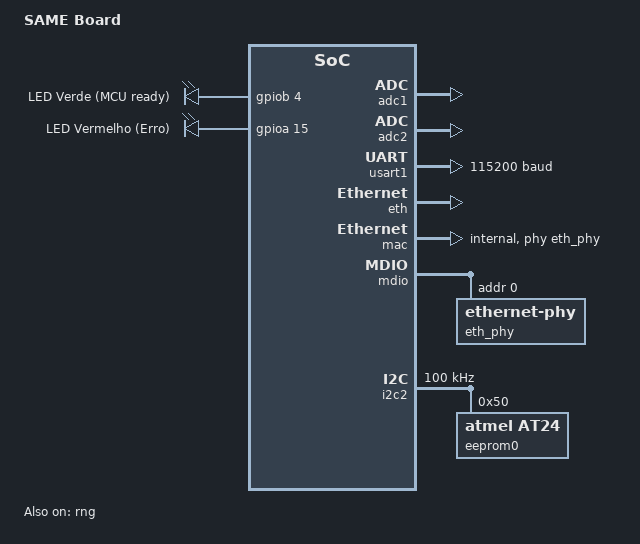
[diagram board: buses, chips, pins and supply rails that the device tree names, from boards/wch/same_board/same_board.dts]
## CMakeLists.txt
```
cmake_minimum_required(VERSION 3.20.0)
find_package(Zephyr REQUIRED HINTS $ENV{ZEPHYR_BASE})
project(SAME)

# SAME — nó de aquisição ELÉTRICA do motor. Só LÊ (2 ADCs) e estima ω/torque
# via SMO+PLL; não aciona o motor (quem aciona o ESC é a SIBA). Arquitetura
# em camadas espelha a SIBA (OS/SYS/HAL, despacho por eventos via same_wq).
#
# native_sim / POSIX: mesma estratégia da SIBA — os dois ADCs viram
# zephyr,adc-emul sob os MESMOS nodelabels `adc1`/`adc2` (ver
# boards/native_sim.overlay), então HAL.c roda sem mudança nesse subsistema.
# NCI.c usa os Offloaded sockets (NSOS) do native_sim → troca UDP real com a
# Aplicacao_Pi no localhost. Ver boards/native_sim.conf.
target_sources(app PRIVATE
    src/main.c

    # OS
    lib/OS/OSSI.c
    lib/OS/NCI.c
    lib/OS/HAL.c
    lib/OS/CMD_Core.c

    # SYS
    lib/SYS/Log_Manager.c
    lib/SYS/Observer_Manager.c
    lib/SYS/Security_Manager.c
    lib/SYS/NVM.c
)

if(NOT CONFIG_ARCH_POSIX)
    # Driver ADC out-of-tree (ADC1 + ADC2) — linkado direto em `app`
    # (--whole-archive) pelo mesmo motivo da SIBA: uma lib estática separada
    # seria descartada pelo linker e `adc1`/`adc2` resolveriam para o driver
    # upstream síncrono-only. Ver CONFIG_ADC_CH32V00X=n em prj.conf.
    target_sources(app PRIVATE drivers/adc/adc_ch32v307.c)
endif()

target_include_directories(app PRIVATE
    lib/OS
    lib/Application
    lib/SYS
    drivers
)
```

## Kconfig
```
mainmenu "SAME Firmware"

source "Kconfig.zephyr"

menu "SAME application"

config SAME_NET_STATUS_UART
	bool "Imprime status de rede e telemetria na UART a cada 500 ms"
	default n
	help
	  Quando habilitado, um worker na same_wq imprime a cada 500 ms:
	  status da conexão, IP configurado, fd do socket TX, RPM estimado,
	  torque elétrico e error_code. Útil para bancada sem a GUI conectada.

endmenu
```

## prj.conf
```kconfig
CONFIG_GPIO=y
CONFIG_PINCTRL=y
CONFIG_REBOOT=y

# ADC — SAME usa DOIS ADCs convencionais (ADC1 = tensões de fase, ADC2 =
# correntes de fase), cada um com seu canal DMA1 (ver same_board.dts). O
# driver custom adc_ch32v307 (drivers/adc) atende ambas as instâncias.
CONFIG_ADC=y
CONFIG_ADC_ASYNC=y
CONFIG_ADC_LOG_LEVEL_DBG=n
# Driver upstream adc_ch32v00x.c também usa DT_DRV_COMPAT "wch,adc" e vence a
# ligação com os nós `adc1`/`adc2`, descartando nosso libadc_ch32v307.a — sem
# .read_async, o adc_read_async() vira jalr por ponteiro NULL. Ver mesma nota
# na SIBA (prj.conf). Desabilitado aqui.
CONFIG_ADC_CH32V00X=n

# Rede (mesmo transporte UDP da SIBA — protocolo em SAME.yaml)
CONFIG_NETWORKING=y
CONFIG_NET_IPV4=y
CONFIG_NET_UDP=y
CONFIG_NET_L2_ETHERNET=y
CONFIG_NET_CONFIG_SETTINGS=y
CONFIG_NET_CONFIG_INIT_TIMEOUT=0
CONFIG_NET_CONFIG_MY_IPV4_ADDR="169.254.97.100"
CONFIG_NET_CONFIG_PEER_IPV4_ADDR="169.254.97.139"
CONFIG_NET_SOCKETS=y

# Build
CONFIG_ENTROPY_GENERATOR=y
CONFIG_TEST_RANDOM_GENERATOR=y
CONFIG_BUILD_OUTPUT_BIN=y

# LOGs e USART
CONFIG_CONSOLE=y
CONFIG_SERIAL=y
CONFIG_UART_CONSOLE=y
CONFIG_LOG_BACKEND_UART=y
CONFIG_LOG=y
CONFIG_LOG_DEFAULT_LEVEL=3
CONFIG_PRINTK=y

# O SMO usa ponto flutuante em quase todo cálculo (Clarke, PLL, LPF) e os
# logs imprimem %f — sem FPU o hardware faz em soft-float (ok) mas o
# cbprintf precisa do suporte a float.
CONFIG_FPU=y
CONFIG_FPU_SHARING=y
CONFIG_CBPRINTF_FP_SUPPORT=y

CONFIG_HEAP_MEM_POOL_SIZE=8192

# I2C2 — EEPROM FT24C32A (PB10=SCL, PB11=SDA)
CONFIG_I2C=y

# Log buffer padrão (1024 B) causa "N messages dropped" no boot com FPU_SHARING
CONFIG_LOG_BUFFER_SIZE=4096

# Observer_Step roda na ISR de DMA com FPU_SHARING — stack padrão (2048) é
# insuficiente para salvar 32 regs FPU + call chain + locals de float.
CONFIG_ISR_STACK_SIZE=4096

# Sysworkq processa ETH carrier_on (~1-2 ms) enquanto o ADC ISR dispara a
# ~9,4 kHz. Com FPU_SHARING cada ISR salva 32 regs FP (128 B) na stack da
# thread interrompida. ~10 ISRs × 128 B + call chain do net_if_carrier_on
# (~500 B) > 4096 B → overflow → ethernet_context->iface corrompido.
CONFIG_SYSTEM_WORKQUEUE_STACK_SIZE=8192

# A logging_thread formata %f (cbprintf) com FPU_SHARING ativo — stack padrão
# (1024) é insuficiente para salvar contexto FPU + cbprintf float.
CONFIG_LOG_PROCESS_THREAD_STACK_SIZE=2048
CONFIG_STACK_SENTINEL=y
CONFIG_THREAD_NAME=y
CONFIG_MAIN_STACK_SIZE=4096

# Idle thread: default=256B, mas com FPU_SHARING o _isr_wrapper salva 80B de
# ESF na stack da thread interrompida. Se o idle estiver com sp próximo do
# topo de RAM (comportamento do Zephyr: idle começa em _end_of_ram), o save
# extrapola e fp_trap_exit falha com Load access fault em 0x20020018.
CONFIG_IDLE_STACK_SIZE=512

# Debug de bancada: imprime status de rede + telemetria na UART a cada 5 s
CONFIG_SAME_NET_STATUS_UART=y
```

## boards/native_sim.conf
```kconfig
# Overlay de configuração para `west build -b native_sim` — mesmo esquema da
# SIBA (ver SIBA/boards/native_sim.conf). Roda o firmware da SAME como binário
# POSIX no host: sem CH32V307, sem os 2 ADCs custom, sem MAC Ethernet.
#
# REDE: Offloaded sockets (NSOS) — zsock_* de NCI.c vão direto aos sockets BSD
# do host (127.0.0.1), então a Aplicacao_Pi troca UDP de verdade com o
# firmware sem TAP/root.
CONFIG_ETH_NATIVE_TAP=n
CONFIG_NET_L2_ETHERNET=n
CONFIG_NET_DRIVERS=y
CONFIG_NETWORKING=y
CONFIG_NET_IPV4=y
CONFIG_NET_UDP=y
CONFIG_NET_SOCKETS=y
CONFIG_NET_SOCKETS_OFFLOAD=y
CONFIG_NET_NATIVE_OFFLOADED_SOCKETS=y
CONFIG_NET_IPV6_DAD=n
# IP de loopback DISTINTO por placa (espelha a topologia real: SIBA .200,
# SAME .100 — cada nó é um host diferente). Mapeia o último octeto do IP
# link-local real (169.254.97.100) para 127.0.0.100, para SAME e SIBA não
# compartilharem o mesmo 127.0.0.1 ao rodar juntos em native_sim. PEER = para
# onde a placa envia a telemetria (o "PC" no loopback); a Aplicacao_Pi usa o
# mesmo mapeamento (ver Communication_Data/manager.py::_native_loopback).
CONFIG_NET_CONFIG_SETTINGS=y
CONFIG_NET_CONFIG_MY_IPV4_ADDR="127.0.0.100"
CONFIG_NET_CONFIG_PEER_IPV4_ADDR="127.0.0.100"
CONFIG_NET_CONFIG_NEED_IPV4=y

# Os dois ADCs custom não compilam para native_sim — em vez de mockar o HAL,
# ligamos o emulador ADC in-tree sob os MESMOS nodelabels `adc1`/`adc2` (ver
# boards/native_sim.overlay). HAL.c usa só a API genérica
# adc_channel_setup/adc_read_async → roda sem alteração.
CONFIG_ADC=y
CONFIG_ADC_ASYNC=y
CONFIG_ADC_EMUL=y
CONFIG_ADC_LOG_LEVEL_DBG=n

# native_sim não tem pinctrl_soc.h (pinctrl é específico do CH32V307) — o ADC
# emulado não usa pinos, então PINCTRL fica desligado.
CONFIG_PINCTRL=n

# GPIO precisa ficar LIGADO: a SAME tem sim periférico de GPIO (LEDs de status
# PB4/PA15), e Security_Manager.c/NCI.c os acessam com GPIO_DT_SPEC_GET sem
# guarda #ifdef CONFIG_ARCH_POSIX. Com GPIO=n o link quebrava com
# "undefined reference to __device_dts_ord_*". Aqui o driver é o gpio_emul
# in-tree, sobre os nós declarados em boards/native_sim.overlay.
CONFIG_GPIO=y

# I2C2 (PB10/PB11) — o driver wch,i2c não compila para native_sim, mas o
# nodelabel `i2c2` existe via zephyr,i2c-emul-controller (ver
# boards/native_sim.overlay), mesma estratégia do ADC. CONFIG_EMUL é o
# framework genérico exigido por CONFIG_I2C_EMUL. Sem dispositivo no
# barramento emulado o NVM_Init falha e o firmware segue com os defaults.
CONFIG_I2C=y
CONFIG_EMUL=y
CONFIG_I2C_EMUL=y

# Sem FPU ligada, todo "%f" de LOG_*/observador sai como texto literal em
# native_sim (host tem FPU, mas o cbprintf não). O SMO é todo float.
CONFIG_FPU=y

# Em native_sim o board já seleciona LOG_BACKEND_NATIVE_POSIX (stdout do host);
# deixar o backend de UART ligado duplicaria cada linha. Desliga aqui.
CONFIG_LOG_BACKEND_UART=n
```

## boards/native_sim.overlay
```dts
#include <zephyr/dt-bindings/gpio/gpio.h>
#include <zephyr/dt-bindings/i2c/i2c.h>

/*
 * Overlay de devicetree para `west build -b native_sim` — substitui os DOIS
 * ADCs custom da SAME por emuladores in-tree (zephyr,adc-emul), com os MESMOS
 * nodelabels `adc1`/`adc2` que same_board.dts usa. Assim HAL.c roda SEM
 * MUDANÇA: só enxerga "dois adc" via API genérica do Zephyr
 * (adc_channel_setup/adc_read_async).
 *
 *   adc1 → tensões de fase (canais 0,1,2 = V_a,V_b,V_c)
 *   adc2 → correntes de fase (canais 3,4,5 = i_a,i_b,i_c)
 *
 * nchannels = <6> cobre até o maior índice de canal usado (5). Os valores de
 * mV de cada canal são alimentados em runtime por um stimulus (ver
 * adc_stimulus em HAL.c) via adc_emul_const_value_set().
 */

/ {
    adc1: adc_emul_1 {
        compatible = "zephyr,adc-emul";
        nchannels = <6>;
        ref-internal-mv = <3300>;
        #io-channel-cells = <1>;
        status = "okay";
    };

    adc2: adc_emul_2 {
        compatible = "zephyr,adc-emul";
        nchannels = <6>;
        ref-internal-mv = <3300>;
        #io-channel-cells = <1>;
        status = "okay";
    };
};

/*
 * LEDs de status e barramento do EEPROM sobre os emuladores do native_sim.
 *
 * Security_Manager.c/NCI.c usam `led_red`/`led_green` e src/main.c usa `i2c2`
 * com as macros de devicetree direto, sem guarda #ifdef CONFIG_ARCH_POSIX —
 * sem estes nós o build de native_sim não liga. Na same_board são PA15, PB4 e
 * PB10/PB11; aqui, pinos do gpio_emul a partir do 1 (o 0 já é o led_0 que a
 * própria native_sim declara) e um i2c-emul sem dispositivos no barramento
 * (NVM_Init falha e o firmware segue com os defaults de fábrica).
 */
&leds {
    led_red: led_red {
        gpios = <&gpio0 1 GPIO_ACTIVE_HIGH>;
        label = "LED vermelho (emulado)";
    };

    led_green: led_green {
        gpios = <&gpio0 2 GPIO_ACTIVE_HIGH>;
        label = "LED verde (emulado)";
    };
};

/ {
    i2c2: i2c@120 {
        compatible = "zephyr,i2c-emul-controller";
        reg = <0x120 4>;
        clock-frequency = <I2C_BITRATE_STANDARD>;
        #address-cells = <1>;
        #size-cells = <0>;
        #forward-cells = <1>;
        status = "okay";
    };
};
```

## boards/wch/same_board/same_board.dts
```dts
/dts-v1/;
#include <wch/ch32v307/ch32v307vc.dtsi>
#include <zephyr/dt-bindings/gpio/gpio.h>
#include <zephyr/dt-bindings/pinctrl/ch32v20x_30x-pinctrl.h>
#include <zephyr/dt-bindings/clock/ch32v20x_30x-clocks.h>
#include <zephyr/dt-bindings/i2c/i2c.h>

/* O header de pinctrl não define grupos de remap para os ADCs (entrada
 * analógica não é multiplexada — o pino só entra em modo analógico). Como
 * na siba_board, declaramos os grupos aqui para o CH32V20X_V30X_PINMUX_DEFINE
 * resolver. ADC1 e ADC2 compartilham fisicamente os pinos PAx (ADC1_INn e
 * ADC2_INn são o MESMO pino); o número do canal = número do pino. */
#define CH32V20X_V30X_PINMUX_ADC1_RM 0
#define CH32V20X_V30X_PINMUX_ADC2_RM 0
/* I2C2 não tem remap no AFIO (pinos fixos PB10/PB11) — mesmo padrão do ADC */
#define CH32V20X_V30X_PINMUX_I2C2_RM 0

/ {
    model = "SAME Board";
    compatible = "wch,ch32v307";

    chosen {
        zephyr,sram = &sram0;
        zephyr,flash = &flash0;
        zephyr,console = &usart1;
        zephyr,shell-uart = &usart1;
    };

    /* ================================================================ *
     * LEDs de status                                                    *
     *   PB4  = LED verde  (mcu_ready: calibrado + rede online)         *
     *   PA15 = LED vermelho (qualquer erro no error_code)               *
     * ================================================================ */
    leds {
        compatible = "gpio-leds";
        led_green: led_green {
            gpios = <&gpiob 4 GPIO_ACTIVE_HIGH>;
            label = "LED Verde (MCU ready)";
        };
        led_red: led_red {
            gpios = <&gpioa 15 GPIO_ACTIVE_HIGH>;
            label = "LED Vermelho (Erro)";
        };
    };

    /* ================================================================ *
     * ADC1 — três CORRENTES de fase (i_a, i_b, i_c) — MESTRE          *
     *   CH3 = PA3 = i_a   CH1 = PA1 = i_b   CH0 = PA0 = i_c             *
     * PA2 reservado para W25Q (SPI flash) — não usar aqui.              *
     * DMA1 canal 1 (IRQ 27).                                            *
     * ================================================================ */
    adc1: adc@40012400 {
        compatible = "wch,adc";
        reg = <0x40012400 0x400>;
        clocks = <&rcc CH32V20X_V30X_CLOCK_ADC1>;
        interrupt-parent = <&pfic>;
        interrupts = <34>;
        dmas = <&dma1 1>;
        dma-names = "rx";
        pinctrl-0 = <&adc1_default>;
        pinctrl-names = "default";
        status = "okay";
        #io-channel-cells = <1>;
    };

    /* ================================================================ *
     * ADC2 — três TENSÕES de fase (V_a, V_b, V_c) — ESCRAVO do ADC1   *
     *   CH12 = PC2 = V_a   CH13 = PC3 = V_b   CH14 = PC4 = V_c          *
     *   PC0/PC1 ficam livres: vão aos LEDs do conector de rede da placa *
     *                                                                    *
     * SEM `dmas` de propósito: o manual de referência (Table 11-2,     *
     * "Peripheral mapping table of each DMA1 channel") confirma que só *
     * o ADC1 tem linha de request de DMA no DMA1 — ADC2 não aparece em *
     * NENHUM dos 7 canais. Um ADC2 "independente" com DMA própria nunca*
     * completaria uma transferência (dava timeout sempre, no hardware  *
     * real — native_sim não pegava isso, pois emula por outro caminho).*
     * Por isso o driver (drivers/adc/adc_ch32v307.c) roda os dois em   *
     * modo DUAL SIMULTÂNEO (DUALMOD=Regular Simultaneous, registrador  *
     * ADC1_CTLR1): ADC1 dispara os dois ADCs ao MESMO TEMPO (i_a com   *
     * V_a, i_b com V_b, i_c com V_c — pareado por fase, essencial pro  *
     * Clarke/SMO), e o resultado combinado sai por UMA transferência   *
     * de DMA de 32 bits no canal do ADC1 (16 bits baixos=ADC1, altos=  *
     * ADC2). O driver detecta esse modo sozinho (via `has_dma` = ADC2  *
     * não ter `dmas` no DTS) — não precisa de propriedade nova aqui.   *
     * ================================================================ */
    adc2: adc@40012800 {
        compatible = "wch,adc";
        reg = <0x40012800 0x400>;
        clocks = <&rcc CH32V20X_V30X_CLOCK_ADC2>;
        interrupt-parent = <&pfic>;
        interrupts = <34>;
        pinctrl-0 = <&adc2_default>;
        pinctrl-names = "default";
        status = "okay";
        #io-channel-cells = <1>;
    };
};

/* ==================================================================== *
 * PINCTRL                                                              *
 * ==================================================================== */
&pinctrl {

    adc1_default: adc1_default {
        group1 { pinmux = <CH32V20X_V30X_PINMUX_DEFINE(PA, 3, ADC1, 0)>; };  /* CH3  - i_a (PA2 = W25Q) */
        group2 { pinmux = <CH32V20X_V30X_PINMUX_DEFINE(PA, 1, ADC1, 0)>; };  /* CH1  - i_b */
        group3 { pinmux = <CH32V20X_V30X_PINMUX_DEFINE(PA, 0, ADC1, 0)>; };  /* CH0  - i_c */
    };

    adc2_default: adc2_default {
        group1 { pinmux = <CH32V20X_V30X_PINMUX_DEFINE(PC, 2, ADC2, 0)>; };  /* CH12 - V_a */
        group2 { pinmux = <CH32V20X_V30X_PINMUX_DEFINE(PC, 3, ADC2, 0)>; };  /* CH13 - V_b */
        group3 { pinmux = <CH32V20X_V30X_PINMUX_DEFINE(PC, 4, ADC2, 0)>; };  /* CH14 - V_c */
    };

    usart1_default: usart1_default {
        group1 {
            pinmux = <USART1_TX_PA9_0>;
            output-high;
            drive-push-pull;
            slew-rate = "max-speed-10mhz";
        };
        group2 {
            pinmux = <USART1_RX_PA10_0>;
            bias-pull-up;
        };
    };

    mac_default: mac_default {
        mac_internal_rxp {
            pinmux = <CH32V20X_V30X_PINMUX_DEFINE(PC, 6, ETH, 0)>;
            slew-rate = "max-speed-50mhz";
        };
        mac_internal_rxn {
            pinmux = <CH32V20X_V30X_PINMUX_DEFINE(PC, 7, ETH, 0)>;
            slew-rate = "max-speed-50mhz";
        };
        mac_internal_txp {
            pinmux = <CH32V20X_V30X_PINMUX_DEFINE(PC, 8, ETH, 0)>;
            slew-rate = "max-speed-50mhz";
        };
        mac_internal_txn {
            pinmux = <CH32V20X_V30X_PINMUX_DEFINE(PC, 9, ETH, 0)>;
            slew-rate = "max-speed-50mhz";
        };
    };

    mdio_default: mdio_default {
        /* PHY interno - sem pinos MDIO externos necessarios */
    };

    /* ================================================================ *
     * I2C2 — EEPROM FT24C32A-ETR-T (PB10=SCL, PB11=SDA)              *
     * Pinos fixos, sem remap no AFIO. Open-drain com pull-up externo. *
     * ================================================================ */
    i2c2_default: i2c2_default {
        group1 {
            pinmux = <CH32V20X_V30X_PINMUX_DEFINE(PB, 10, I2C2, 0)>;
            output-high;
            drive-open-drain;
        };
        group2 {
            pinmux = <CH32V20X_V30X_PINMUX_DEFINE(PB, 11, I2C2, 0)>;
            output-high;
            drive-open-drain;
        };
    };

    /* ================================================================ *
     * SPI flash (chip não identificado) — PA2/PA5/PA6/PA7             *
     * Não usado na SAME (SPI1 desligado). Pinos livres/reservados.    *
     * ================================================================ */
};

/* ==================================================================== *
 * CLOCKS / PERIFÉRICOS                                                  *
 * ==================================================================== */
&clk_hse { status = "okay"; };
&pll { clocks = <&clk_hse>; status = "okay"; };
&rcc { clocks = <&pll>; };

&gpioa { status = "okay"; };
&gpiob { status = "okay"; };
&gpioc { status = "okay"; };

/* dma1 "disabled" como CONTROLLER genérico Zephyr (dma_wch.c): o driver
 * adc_ch32v307.c NÃO usa a API genérica de DMA (faz MMIO direto), só precisa
 * da célula "channel" de `dmas = <&dma1 N>` (resolvida em compilação). Ver
 * mesma nota em siba_board.dts. */
&dma1 { status = "disabled"; };

&usart1 {
    status = "okay";
    current-speed = <115200>;
    pinctrl-0 = <&usart1_default>;
    pinctrl-names = "default";
};

/* Ethernet — mesma configuração validada na SIBA (MAC interno + PHY interno). */
&eth {
    status = "okay";
};

&mac {
    status = "okay";
    pinctrl-0 = <&mac_default>;
    pinctrl-names = "default";
    phy-connection-type = "internal";
    phy-handle = <&eth_phy>;
    local-mac-address = [02 00 00 02 03 04];
    internal-phy-pllmul = "15";
    internal-phy-prediv = "2";
};

&mdio {
    status = "okay";
    pinctrl-0 = <&mdio_default>;
    pinctrl-names = "default";
    eth_phy: ethernet-phy@0 {
        compatible = "ethernet-phy";
        reg = <0x00>;
    };
};

&rng { status = "okay"; };

/* EEPROM FT24C32A (I2C2, 4 KB) — A0=A1=A2=GND → endereço 0x50.
 * FT24C32A é compatível com AT24C32 (endurance 1 M ciclos). */
&i2c2 {
    status = "okay";
    pinctrl-0 = <&i2c2_default>;
    pinctrl-names = "default";
    clock-frequency = <100000>;

    eeprom0: eeprom@50 {
        compatible = "atmel,at24";
        reg = <0x50>;
        size = <4096>;
        pagesize = <32>;
        address-width = <16>;
        timeout = <5>;
    };
};

&sram0 { reg = <0x20000000 DT_SIZE_K(128)>; };
&flash0 { reg = <0x08000000 DT_SIZE_K(198)>; };
```

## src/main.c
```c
/**
 * @file main.c
 * @brief Ponto de entrada do firmware da SAME: ordem de inicialização dos
 * subsistemas.
 */
#include <zephyr/kernel.h>
#include <zephyr/logging/log.h>

/* OS */
#include "OSSI.h"
#include "NCI.h"
#include "HAL.h"
#include "CMD_Core.h"

/* SYS */
#include "Log_Manager.h"
#include "Observer_Manager.h"
#include "Security_Manager.h"
#include "NVM.h"

#include <zephyr/drivers/i2c.h>

#define NVM_I2C_ADDR  0x50U

LOG_MODULE_REGISTER(same_main, LOG_LEVEL_INF);

/**
 * @brief Inicializa OSSI/Observer/Log/CMD_Core/NCI/HAL nessa ordem e habilita
 * o tráfego de rede. HAL_Init falhando não impede o boot (log de erro só).
 * @return 0 sempre (Zephyr chama main() uma vez e segue no scheduler)
 */
int main(void)
{
    printk("[SAME] main() atingido\n");

    printk("[SAME] === SAME Board — no de aquisicao eletrica do motor ===\n");

    printk("[SAME] Observer_Init...\n");
    Observer_Init();

    printk("[SAME] Security_Manager_Init...\n");
    Security_Manager_Init();

    printk("[SAME] Log_Manager_Init...\n");
    Log_Manager_Init();

    printk("[SAME] CMD_Core_Init...\n");
    CMD_Core_Init();

    /* 1. Defaults de calib no array interno do HAL (sem ligar ADC nem WQ). */
    HAL_Calib_Init_Defaults();

    /* 2. EEPROM primeiro, sem nenhuma thread/worker concorrente ainda.
     *    Aplica calibracao e params do observador salvos antes de ligar
     *    o ADC ou subir a work queue. */
    printk("[SAME] NVM_Init...\n");
    {
        const struct device *nvm_i2c = DEVICE_DT_GET(DT_NODELABEL(i2c2));
        if (NVM_Init(nvm_i2c, NVM_I2C_ADDR) != 0) {
            LOG_WRN("NVM_Init falhou — calibracao/observador com defaults");
        }
    }

    /* 3. Work queue sobe so depois do NVM: garante que o I2C do boot
     *    nao compete com nenhum worker. */
    printk("[SAME] OSSI_Init...\n");
    OSSI_Init();

    /* 4. Ethernet apos a WQ estar pronta (NCI thread chama OSSI_Submit_CMD). */
    printk("[SAME] NCI_Init...\n");
    NCI_Init();

    /* 5. ADC por ultimo: so comeca a gerar dados quando tudo esta pronto. */
    printk("[SAME] HAL_Init...\n");
    if (HAL_Init() != 0) {
        LOG_ERR("HAL_Init falhou — sistema degradado");
    }

    /* NCI_Set_Connection_Status não é mais chamado aqui: NCI.c registra
     * um callback net_mgmt que detecta o UP/DOWN do PHY automaticamente. */

    LOG_INF("=== SAME pronto ===");
    printk("[SAME] boot completo\n");
    return 0;
}
```
